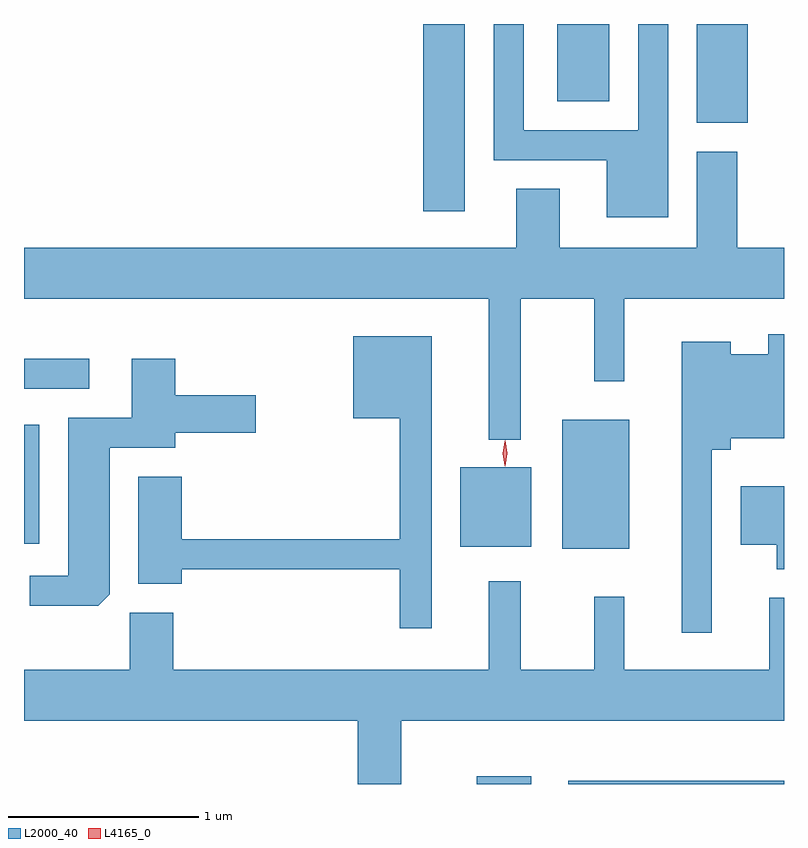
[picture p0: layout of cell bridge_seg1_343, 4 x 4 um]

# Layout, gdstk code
import gdstk
lib = gdstk.Library(unit=1e-6, precision=1e-09)
def R(c, l, rs):  # rectangles x0, y0, x1, y1
    for r in rs: c.add(gdstk.rectangle(r[:2], r[2:], *l))
def P(c, l, *ps):  # polygons
    for p in ps: c.add(gdstk.Polygon(p, *l))
L2000_40 = (2000, 40)
L4165_0 = (4165, 0)

bridge_seg1_343 = lib.new_cell('bridge_seg1_343')
R(bridge_seg1_343, L2000_40, [(900.076,885.922,900.364,885.964), (900.558,885.922,901.694,885.939), (900.526,887.161,900.879,887.839), (899.991,887.171,900.364,887.589), (897.694,887.186,897.774,887.814), (897.694,888.001,898.038,888.159), (899.796,888.936,900.014,889.922), (901.236,889.401,901.504,889.922), (900.501,889.516,900.774,889.922)])
P(bridge_seg1_343, L2000_40, [(901.084,889.922),(900.926,889.922),(900.926,889.364),(900.324,889.364),(900.324,889.922),(900.166,889.922),(900.166,889.206),(900.761,889.206),(900.761,888.906),(901.084,888.906)],
  [(900.286,888.744),(897.694,888.744),(897.694,888.476),(900.141,888.476),(900.141,887.733),(900.309,887.733),(900.309,888.476),(900.696,888.476),(900.696,888.043),(900.854,888.043),(900.854,888.476),(901.694,888.476),(901.694,888.744),(901.449,888.744),(901.449,889.249),(901.236,889.249),(901.236,888.744),(900.514,888.744),(900.514,889.054),(900.286,889.054)],
  [(901.314,887.681),(901.414,887.681),(901.414,887.741),(901.694,887.741),(901.694,888.288),(901.611,888.288),(901.611,888.184),(901.414,888.184),(901.414,888.249),(901.156,888.249),(901.156,886.718),(901.314,886.718)],
  [(899.839,888.279),(899.426,888.279),(899.426,887.846),(899.671,887.846),(899.671,887.209),(898.524,887.209),(898.524,887.539),(898.296,887.539),(898.296,886.976),(898.524,886.976),(898.524,887.051),(899.671,887.051),(899.671,886.743),(899.839,886.743)],
  [(898.144,886.922),(898.144,887.691),(898.489,887.691),(898.489,887.771),(898.914,887.771),(898.914,887.969),(898.489,887.969),(898.489,888.159),(898.261,888.159),(898.261,887.849),(897.926,887.849),(897.926,887.019),(897.723,887.019),(897.723,886.861),(898.084,886.861)],
  [(901.694,887.489),(901.466,887.489),(901.466,887.181),(901.656,887.181),(901.656,887.051),(901.694,887.051)],
  [(899.679,886.256),(901.694,886.256),(901.694,886.903),(901.616,886.903),(901.616,886.524),(900.854,886.524),(900.854,886.908),(900.696,886.908),(900.696,886.524),(900.309,886.524),(900.309,886.988),(900.141,886.988),(900.141,886.524),(898.479,886.524),(898.479,886.824),(898.251,886.824),(898.251,886.524),(897.694,886.524),(897.694,886.256),(899.451,886.256),(899.451,885.922),(899.679,885.922)])
P(bridge_seg1_343, L4165_0, [(900.226,887.594),(900.217,887.662),(900.226,887.73),(900.227,887.73),(900.227,887.73),(900.237,887.662),(900.227,887.594),(900.227,887.594)],
  [(900.224,887.598),(900.224,887.598),(900.214,887.663),(900.224,887.727),(900.224,887.727),(900.224,887.727),(900.234,887.663),(900.224,887.598)])

lib.write_gds('bridge_seg1_343.gds')
